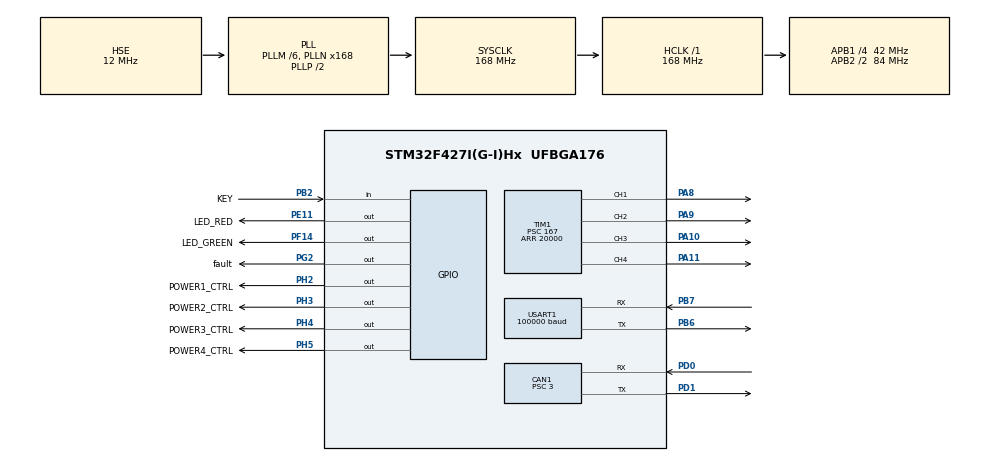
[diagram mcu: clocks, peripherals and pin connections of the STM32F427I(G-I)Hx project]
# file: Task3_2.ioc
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CAN1.ABOM=ENABLE
CAN1.BS1=CAN_BS1_9TQ
CAN1.BS2=CAN_BS2_4TQ
CAN1.CalculateBaudRate=1000000
CAN1.CalculateTimeBit=1000
CAN1.CalculateTimeQuantum=71.42857142857143
CAN1.Prescaler=3
Dma.Request0=USART1_RX
Dma.USART1_RX.0.Direction=DMA_PERIPH_TO_MEMORY
Dma.USART1_RX.0.FIFOMode=DMA_FIFOMODE_DISABLE
Dma.USART1_RX.0.Instance=DMA2_Stream2
Dma.USART1_RX.0.MemDataAlignment=DMA_MDATAALIGN_BYTE
Dma.USART1_RX.0.MemInc=DMA_MINC_ENABLE
Dma.USART1_RX.0.Mode=DMA_CIRCULAR
Dma.USART1_RX.0.PeriphDataAlignment=DMA_PDATAALIGN_BYTE
Dma.USART1_RX.0.PeriphInc=DMA_PINC_DISABLE
Dma.USART1_RX.0.Priority=DMA_PRIORITY_LOW
Mcu.Family=STM32F4
Mcu.Name=STM32F427I(G-I)Hx
Mcu.Package=UFBGA176
NVIC.CAN1_RX0_IRQn=true\:0\:0\:false\:false\:true\:true\:true\:true
NVIC.CAN1_TX_IRQn=true\:0\:0\:false\:false\:true\:true\:true\:true
NVIC.DMA2_Stream2_IRQn=true\:0\:0\:false\:false\:true\:false\:true\:true
NVIC.PriorityGroup=NVIC_PRIORITYGROUP_4
NVIC.TIM2_IRQn=true\:0\:0\:true\:false\:true\:false\:true\:true
NVIC.TimeBase=TIM2_IRQn
NVIC.TimeBaseIP=TIM2
NVIC.USART1_IRQn=true\:0\:0\:false\:false\:true\:true\:true\:true
PA10.Signal=S_TIM1_CH3
PA11.Signal=S_TIM1_CH4
PA13.Mode=Serial_Wire
PA13.Signal=SYS_JTMS-SWDIO
PA14.Mode=Serial_Wire
PA14.Signal=SYS_JTCK-SWCLK
PA8.Signal=S_TIM1_CH1
PA9.Signal=S_TIM1_CH2
PB2/BOOT1.GPIO_Label=KEY
PB2/BOOT1.Signal=GPIO_Input
PB6.Mode=Asynchronous
PB6.Signal=USART1_TX
PB7.Mode=Asynchronous
PB7.Signal=USART1_RX
PD0.Mode=CAN_Activate
PD0.Signal=CAN1_RX
PD1.Mode=CAN_Activate
PD1.Signal=CAN1_TX
PE11.GPIO_Label=LED_RED
PE11.Signal=GPIO_Output
PF14.GPIO_Label=LED_GREEN
PF14.Signal=GPIO_Output
PG2.GPIO_Label=fault
PG2.GPIO_PuPd=GPIO_NOPULL
PG2.Signal=GPIO_Output
PH0/OSC_IN.Mode=HSE-External-Oscillator
PH0/OSC_IN.Signal=RCC_OSC_IN
PH1/OSC_OUT.Mode=HSE-External-Oscillator
PH1/OSC_OUT.Signal=RCC_OSC_OUT
PH2.GPIO_Label=POWER1_CTRL
PH2.Signal=GPIO_Output
PH3.GPIO_Label=POWER2_CTRL
PH3.Signal=GPIO_Output
PH4.GPIO_Label=POWER3_CTRL
PH4.Signal=GPIO_Output
PH5.GPIO_Label=POWER4_CTRL
PH5.Signal=GPIO_Output
ProjectManager.HeapSize=0x200
ProjectManager.StackSize=0x400
ProjectManager.TargetToolchain=CMake
RCC.48MHZClocksFreq_Value=84000000
RCC.AHBFreq_Value=168000000
RCC.APB1CLKDivider=RCC_HCLK_DIV4
RCC.APB1Freq_Value=42000000
RCC.APB1TimFreq_Value=84000000
RCC.APB2CLKDivider=RCC_HCLK_DIV2
RCC.APB2Freq_Value=84000000
RCC.APB2TimFreq_Value=168000000
RCC.CortexFreq_Value=168000000
RCC.HCLKFreq_Value=168000000
RCC.HSE_VALUE=12000000
RCC.HSI_VALUE=16000000
RCC.LSE_VALUE=32768
RCC.PLLM=6
RCC.PLLN=168
RCC.PLLSourceVirtual=RCC_PLLSOURCE_HSE
RCC.SYSCLKFreq_VALUE=168000000
RCC.SYSCLKSource=RCC_SYSCLKSOURCE_PLLCLK
RCC.VCOOutputFreq_Value=336000000
SH.S_TIM1_CH1.0=TIM1_CH1,PWM Generation1 CH1
SH.S_TIM1_CH2.0=TIM1_CH2,PWM Generation2 CH2
SH.S_TIM1_CH3.0=TIM1_CH3,PWM Generation3 CH3
SH.S_TIM1_CH4.0=TIM1_CH4,PWM Generation4 CH4
TIM1.Channel-PWM\ Generation1\ CH1=TIM_CHANNEL_1
TIM1.Channel-PWM\ Generation2\ CH2=TIM_CHANNEL_2
TIM1.Channel-PWM\ Generation3\ CH3=TIM_CHANNEL_3
TIM1.Channel-PWM\ Generation4\ CH4=TIM_CHANNEL_4
TIM1.OC2Preload_PWM=ENABLE
TIM1.Period=20000
TIM1.Prescaler=167
TIM1.Pulse-PWM\ Generation2\ CH2=1000
TIM1.Pulse-PWM\ Generation3\ CH3=1000
USART1.BaudRate=100000
USART1.Parity=PARITY_EVEN
USART1.VirtualMode=VM_ASYNC
VP_SYS_VS_tim2.Mode=TIM2
board=custom

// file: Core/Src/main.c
/* USER CODE BEGIN Header */
/**
  ******************************************************************************
  * @file           : main.c
  * @brief          : Main program body
  ******************************************************************************
  ** This notice applies to any and all portions of this file
  * that are not between comment pairs USER CODE BEGIN and
  * USER CODE END. Other portions of this file, whether
  * inserted by the user or by software development tools
  * are owned by their respective copyright owners.
  *
  * COPYRIGHT(c) 2018 STMicroelectronics
  *
  * Redistribution and use in source and binary forms, with or without modification,
  * are permitted provided that the following conditions are met:
  *   1. Redistributions of source code must retain the above copyright notice,
  *      this list of conditions and the following disclaimer.
  *   2. Redistributions in binary form must reproduce the above copyright notice,
  *      this list of conditions and the following disclaimer in the documentation
  *      and/or other materials provided with the distribution.
  *   3. Neither the name of STMicroelectronics nor the names of its contributors
  *      may be used to endorse or promote products derived from this software
  *      without specific prior written permission.
  *
  * THIS SOFTWARE IS PROVIDED BY THE COPYRIGHT HOLDERS AND CONTRIBUTORS "AS IS"
  * AND ANY EXPRESS OR IMPLIED WARRANTIES, INCLUDING, BUT NOT LIMITED TO, THE
  * IMPLIED WARRANTIES OF MERCHANTABILITY AND FITNESS FOR A PARTICULAR PURPOSE ARE
  * DISCLAIMED. IN NO EVENT SHALL THE COPYRIGHT HOLDER OR CONTRIBUTORS BE LIABLE
  * FOR ANY DIRECT, INDIRECT, INCIDENTAL, SPECIAL, EXEMPLARY, OR CONSEQUENTIAL
  * DAMAGES (INCLUDING, BUT NOT LIMITED TO, PROCUREMENT OF SUBSTITUTE GOODS OR
  * SERVICES; LOSS OF USE, DATA, OR PROFITS; OR BUSINESS INTERRUPTION) HOWEVER
  * CAUSED AND ON ANY THEORY OF LIABILITY, WHETHER IN CONTRACT, STRICT LIABILITY,
  * OR TORT (INCLUDING NEGLIGENCE OR OTHERWISE) ARISING IN ANY WAY OUT OF THE USE
  * OF THIS SOFTWARE, EVEN IF ADVISED OF THE POSSIBILITY OF SUCH DAMAGE.
  *
  ******************************************************************************
  */
/* USER CODE END Header */
#include "main.h"
#include "can.h"
#include "dma.h"
#include "tim.h"
#include "usart.h"
#include "gpio.h"

/* USER CODE BEGIN Includes */
#include "bsp_key.h"
#include "bsp_led.h"
#include "bsp_can.h"
#include "bsp_pwm.h"
#include "pid.h"
#include "bsp_uart.h"
/* USER CODE END Includes */

/* USER CODE BEGIN PV */
extern moto_info_t motor_info[MOTOR_MAX_NUM];
int16_t led_cnt;
pid_struct_t motor_pid[7];
float target_angle;
uint16_t pwm_pulse = 1080;  // default pwm pulse width:1080~1920
extern rc_info_t rc;
/* USER CODE END PV */

void SystemClock_Config(void);

/* USER CODE BEGIN 0 */
void init_fault()
{
  while (1)
  {
    HAL_Delay(500);
    HAL_GPIO_TogglePin(fault_GPIO_Port,fault_Pin);
  }
}
/* USER CODE END 0 */

int main(void)
{

  /* MCU Configuration--------------------------------------------------------*/

  /* Reset of all peripherals, Initializes the Flash interface and the Systick. */
  HAL_Init();

  /* Configure the system clock */
  SystemClock_Config();

  /* Initialize all configured peripherals */
  MX_GPIO_Init();
  MX_DMA_Init();
  MX_CAN1_Init();
  MX_TIM1_Init();
  MX_USART1_UART_Init();
  /* USER CODE BEGIN 2 */
  HAL_GPIO_WritePin(GPIOH, POWER1_CTRL_Pin|POWER2_CTRL_Pin|POWER3_CTRL_Pin|POWER4_CTRL_Pin, GPIO_PIN_SET); // switch on 24v power
  pwm_init();                              // start pwm output
  can_user_init(&hcan1);//滤波器设置，开启CAN                   // config can filter, start can
  for (uint8_t i = 0; i < 7; i++)
  {
    pid_init(&motor_pid[i], 70, 6, 2, 30000, 25000); //init pid parameter, kp=40, ki=3, kd=0, output limit = 30000
  }
  dbus_uart_init();
  /* USER CODE END 2 */

  /* Infinite loop */
  /* USER CODE BEGIN WHILE */
  HAL_GPIO_WritePin(fault_GPIO_Port,fault_Pin,GPIO_PIN_SET);
  while (1)
  {
    /* led blink */
    led_cnt ++;
    if (led_cnt == 250)
    {
      led_cnt = 0;
      LED_RED_TOGGLE(); //blink cycle 500ms
    }

    /* scan is key be pressd down to change target speed and pwm pulse */
    // if (key_scan())
    // {
    //   target_speed += 60.0f;  // target speed increase 60rpm
    //   pwm_pulse    += 210;    // pulse  width increase 210us = (1920-1080)/4
    //   if (target_speed > 180) // if current speed = 180, press key to stop motor
    //   {
    //     target_speed = 0;
    //     pwm_pulse = 1080;
    //   }
    // }

    /* motor speed pid calc */
    target_angle+= rc.ch1/29.0;
    //防跳变
    if (target_angle >8191||target_angle <-8191)
    {
      target_angle = 0;
    }

    for (uint8_t i = 0; i < 7; i++)
    {
      motor_info[i].set_voltage = pid_calc(&motor_pid[i], target_angle, motor_info[i].rotor_angle);
    }
    /* send motor control message through can bus*/
    set_motor_voltage(0,
                      motor_info[0].set_voltage,
                      motor_info[1].set_voltage,
                      motor_info[2].set_voltage,
                      motor_info[3].set_voltage);

    set_motor_voltage(1,
                      motor_info[4].set_voltage,
                      motor_info[5].set_voltage,
                      motor_info[6].set_voltage,
                      0);

    /* set pwm pulse width */
    __HAL_TIM_SetCompare(&htim1, TIM_CHANNEL_1, pwm_pulse);
    __HAL_TIM_SetCompare(&htim1, TIM_CHANNEL_2, pwm_pulse);
    __HAL_TIM_SetCompare(&htim1, TIM_CHANNEL_3, pwm_pulse);
    __HAL_TIM_SetCompare(&htim1, TIM_CHANNEL_4, pwm_pulse);

    /* system delay 1ms */
    HAL_Delay(0);
    /* USER CODE END WHILE */

  }
}

void SystemClock_Config(void)
{
  RCC_OscInitTypeDef RCC_OscInitStruct = {0};
  RCC_ClkInitTypeDef RCC_ClkInitStruct = {0};

  /** Configure the main internal regulator output voltage
  */
  __HAL_RCC_PWR_CLK_ENABLE();
  __HAL_PWR_VOLTAGESCALING_CONFIG(PWR_REGULATOR_VOLTAGE_SCALE1);

  /** Initializes the RCC Oscillators according to the specified parameters
  * in the RCC_OscInitTypeDef structure.
  */
  RCC_OscInitStruct.OscillatorType = RCC_OSCILLATORTYPE_HSE;
  RCC_OscInitStruct.HSEState = RCC_HSE_ON;
  RCC_OscInitStruct.PLL.PLLState = RCC_PLL_ON;
  RCC_OscInitStruct.PLL.PLLSource = RCC_PLLSOURCE_HSE;
  RCC_OscInitStruct.PLL.PLLM = 6;
  RCC_OscInitStruct.PLL.PLLN = 168;
  RCC_OscInitStruct.PLL.PLLP = RCC_PLLP_DIV2;
  RCC_OscInitStruct.PLL.PLLQ = 4;
  if (HAL_RCC_OscConfig(&RCC_OscInitStruct) != HAL_OK)
  {
    Error_Handler();
  }

  /** Initializes the CPU, AHB and APB buses clocks
  */
  RCC_ClkInitStruct.ClockType = RCC_CLOCKTYPE_HCLK|RCC_CLOCKTYPE_SYSCLK
                              |RCC_CLOCKTYPE_PCLK1|RCC_CLOCKTYPE_PCLK2;
  RCC_ClkInitStruct.SYSCLKSource = RCC_SYSCLKSOURCE_PLLCLK;
  RCC_ClkInitStruct.AHBCLKDivider = RCC_SYSCLK_DIV1;
  RCC_ClkInitStruct.APB1CLKDivider = RCC_HCLK_DIV4;
  RCC_ClkInitStruct.APB2CLKDivider = RCC_HCLK_DIV2;

  if (HAL_RCC_ClockConfig(&RCC_ClkInitStruct, FLASH_LATENCY_5) != HAL_OK)
  {
    Error_Handler();
  }
}

void HAL_TIM_PeriodElapsedCallback(TIM_HandleTypeDef *htim)
{
  if (htim->Instance == TIM2)
  {
    HAL_IncTick();
  }
}

void Error_Handler(void)
{
  /* USER CODE BEGIN Error_Handler_Debug */
  /* User can add his own implementation to report the HAL error return state */
  init_fault();
  /* USER CODE END Error_Handler_Debug */
}
